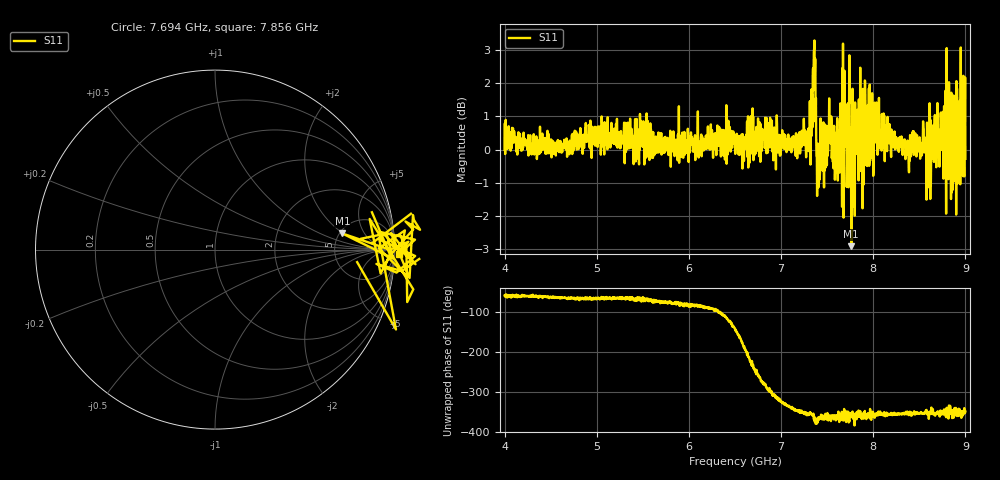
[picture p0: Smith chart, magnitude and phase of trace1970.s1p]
! Created with skrf 1.8.0 (http://scikit-rf.org).
# Hz S RI R 50.0
!freq ReS11 ImS11
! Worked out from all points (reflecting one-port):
!   1601 points, 4 GHz to 9 GHz, reference 50 ohm
!   lowest |S11| = -2.9 dB at 7.762 GHz (marker M1), VSWR 6.02, Z = 264 + j97.2 ohm
!   phase of S11 starts at -60 deg and turns -289 deg over the sweep
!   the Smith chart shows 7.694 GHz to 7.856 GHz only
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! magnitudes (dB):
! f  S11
! 4 GHz  0.0
! 4.625 GHz  -0.1
! 5.25 GHz  0.1
! 5.875 GHz  0.1
! 6.5 GHz  0.2
! 6.875 GHz  0.7
! 7.125 GHz  0.2
! 7.294 GHz  0.3
! 7.347 GHz  2.4
! 7.369 GHz  2.7
! 7.4 GHz  0.2
! 7.409 GHz  -0.9
! 7.525 GHz  0.7
! 7.609 GHz  0.9
! 7.669 GHz  1.2
! 7.75 GHz  0.5
! 7.762 GHz  -2.9
! 7.784 GHz  -0.9
! 7.8 GHz  -2.0
! 7.891 GHz  0.2
! 7.909 GHz  2.1
! 8.038 GHz  0.5
! 8.375 GHz  0.0
! 8.603 GHz  0.5
! 8.759 GHz  -0.1
! 8.875 GHz  1.2
! 8.972 GHz  0.8
! 9 GHz  -0.3
